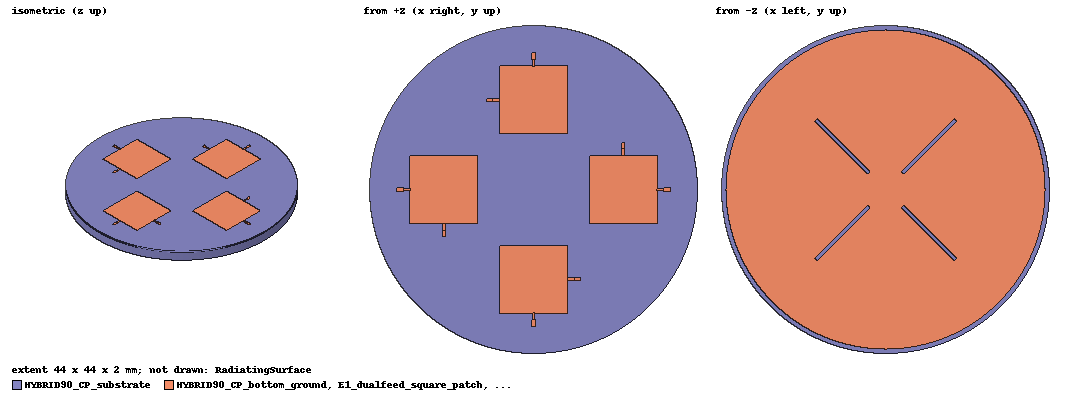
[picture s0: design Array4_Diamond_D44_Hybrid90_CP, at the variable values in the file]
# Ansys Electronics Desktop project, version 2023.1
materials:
  vacuum: permittivity=1
  RO4350B_custom_D44_Topology: permittivity=3.48 permeability=1 dielectric_loss_tangent=0.0037
  copper: permeability=0.999991 conductivity=58000000
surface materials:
  Steel-oxidised-surface

design Array4_Diamond_D44_Hybrid90_CP (HFSS, HFSS Modal Network, model units mm)
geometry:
  HYBRID90_CP_substrate [RO4350B_custom_D44_Topology] = cylinder(axis=Z, base_centre=(0mm, 0mm, 0mm), radius=22mm, height=2mm, segments=128)
  HYBRID90_CP_bottom_ground [copper] = circle(normal=Z, centre=(0mm, 0mm, 0mm), radius=21.4mm, segments=128)
  ground_isolation_slot_1 = polyline(z=0mm, xy in mm: (2.4112341, 2.1142493) (9.4823019, 9.1853171) (9.1853171, 9.4823019) (2.1142493, 2.4112341) (2.4112341, 2.1142493), closed, covered)
  ground_isolation_slot_2 = polyline(z=0mm, xy in mm: (-2.1142493, 2.4112341) (-9.1853171, 9.4823019) (-9.4823019, 9.1853171) (-2.4112341, 2.1142493) (-2.1142493, 2.4112341), closed, covered)
  ground_isolation_slot_3 = polyline(z=0mm, xy in mm: (-2.4112341, -2.1142493) (-9.4823019, -9.1853171) (-9.1853171, -9.4823019) (-2.1142493, -2.4112341) (-2.4112341, -2.1142493), closed, covered)
  ground_isolation_slot_4 = polyline(z=0mm, xy in mm: (2.1142493, -2.4112341) (9.1853171, -9.4823019) (9.4823019, -9.1853171) (2.4112341, -2.1142493) (2.1142493, -2.4112341), closed, covered)
  E1_dualfeed_square_patch [copper] = polyline(z=2mm, xy in mm: (7.4458153, -4.575) (16.595815, -4.575) (16.595815, 4.575) (7.4458153, 4.575) (7.4458153, -4.575), closed, covered)
  P1A_edge_match_section [copper] = polyline(z=2mm, xy in mm: (16.515815, -0.15) (17.495815, -0.15) (17.495815, 0.15) (16.515815, 0.15) (16.515815, -0.15), closed, covered)
  P1A_edge_feedline [copper] = polyline(z=2mm, xy in mm: (17.415815, -0.25) (18.345815, -0.25) (18.345815, 0.25) (17.415815, 0.25) (17.415815, -0.25), closed, covered)
  P1A_lumped_port_sheet = polyline(x=18.345815mm, yz in mm: (-0.25, 0) (0.25, 0) (0.25, 2) (-0.25, 2) (-0.25, 0), closed, covered)
  P1B_edge_match_section [copper] = polyline(z=2mm, xy in mm: (11.870815, 4.495) (12.170815, 4.495) (12.170815, 5.475) (11.870815, 5.475) (11.870815, 4.495), closed, covered)
  P1B_edge_feedline [copper] = polyline(z=2mm, xy in mm: (11.770815, 5.395) (12.270815, 5.395) (12.270815, 6.325) (11.770815, 6.325) (11.770815, 5.395), closed, covered)
  P1B_lumped_port_sheet = polyline(x=12.020815mm, yz in mm: (6.075, 0) (6.575, 0) (6.575, 2) (6.075, 2) (6.075, 0), closed, covered)
  E2_dualfeed_square_patch [copper] = polyline(z=2mm, xy in mm: (4.575, 7.4458153) (4.575, 16.595815) (-4.575, 16.595815) (-4.575, 7.4458153) (4.575, 7.4458153), closed, covered)
  P2A_edge_match_section [copper] = polyline(z=2mm, xy in mm: (0.15, 16.515815) (0.15, 17.495815) (-0.15, 17.495815) (-0.15, 16.515815) (0.15, 16.515815), closed, covered)
  P2A_edge_feedline [copper] = polyline(z=2mm, xy in mm: (0.25, 17.415815) (0.25, 18.345815) (-0.25, 18.345815) (-0.25, 17.415815) (0.25, 17.415815), closed, covered)
  P2A_lumped_port_sheet = polyline(y=18.345815mm, xz in mm: (0.25, 0) (-0.25, 0) (-0.25, 2) (0.25, 2) (0.25, 0), closed, covered)
  P2B_edge_match_section [copper] = polyline(z=2mm, xy in mm: (-4.495, 11.870815) (-4.495, 12.170815) (-5.475, 12.170815) (-5.475, 11.870815) (-4.495, 11.870815), closed, covered)
  P2B_edge_feedline [copper] = polyline(z=2mm, xy in mm: (-5.395, 11.770815) (-5.395, 12.270815) (-6.325, 12.270815) (-6.325, 11.770815) (-5.395, 11.770815), closed, covered)
  P2B_lumped_port_sheet = polyline(y=12.020815mm, xz in mm: (-6.075, 0) (-6.575, 0) (-6.575, 2) (-6.075, 2) (-6.075, 0), closed, covered)
  E3_dualfeed_square_patch [copper] = polyline(z=2mm, xy in mm: (-7.4458153, 4.575) (-16.595815, 4.575) (-16.595815, -4.575) (-7.4458153, -4.575) (-7.4458153, 4.575), closed, covered)
  P3A_edge_match_section [copper] = polyline(z=2mm, xy in mm: (-16.515815, 0.15) (-17.495815, 0.15) (-17.495815, -0.15) (-16.515815, -0.15) (-16.515815, 0.15), closed, covered)
  P3A_edge_feedline [copper] = polyline(z=2mm, xy in mm: (-17.415815, 0.25) (-18.345815, 0.25) (-18.345815, -0.25) (-17.415815, -0.25) (-17.415815, 0.25), closed, covered)
  P3A_lumped_port_sheet = polyline(x=-18.345815mm, yz in mm: (0.25, 0) (-0.25, 0) (-0.25, 2) (0.25, 2) (0.25, 0), closed, covered)
  P3B_edge_match_section [copper] = polyline(z=2mm, xy in mm: (-11.870815, -4.495) (-12.170815, -4.495) (-12.170815, -5.475) (-11.870815, -5.475) (-11.870815, -4.495), closed, covered)
  P3B_edge_feedline [copper] = polyline(z=2mm, xy in mm: (-11.770815, -5.395) (-12.270815, -5.395) (-12.270815, -6.325) (-11.770815, -6.325) (-11.770815, -5.395), closed, covered)
  P3B_lumped_port_sheet = polyline(x=-12.020815mm, yz in mm: (-6.075, 0) (-6.575, 0) (-6.575, 2) (-6.075, 2) (-6.075, 0), closed, covered)
  E4_dualfeed_square_patch [copper] = polyline(z=2mm, xy in mm: (-4.575, -7.4458153) (-4.575, -16.595815) (4.575, -16.595815) (4.575, -7.4458153) (-4.575, -7.4458153), closed, covered)
  P4A_edge_match_section [copper] = polyline(z=2mm, xy in mm: (-0.15, -16.515815) (-0.15, -17.495815) (0.15, -17.495815) (0.15, -16.515815) (-0.15, -16.515815), closed, covered)
  P4A_edge_feedline [copper] = polyline(z=2mm, xy in mm: (-0.25, -17.415815) (-0.25, -18.345815) (0.25, -18.345815) (0.25, -17.415815) (-0.25, -17.415815), closed, covered)
  P4A_lumped_port_sheet = polyline(y=-18.345815mm, xz in mm: (-0.25, 0) (0.25, 0) (0.25, 2) (-0.25, 2) (-0.25, 0), closed, covered)
  P4B_edge_match_section [copper] = polyline(z=2mm, xy in mm: (4.495, -11.870815) (4.495, -12.170815) (5.475, -12.170815) (5.475, -11.870815) (4.495, -11.870815), closed, covered)
  P4B_edge_feedline [copper] = polyline(z=2mm, xy in mm: (5.395, -11.770815) (5.395, -12.270815) (6.325, -12.270815) (6.325, -11.770815) (5.395, -11.770815), closed, covered)
  P4B_lumped_port_sheet = polyline(y=-12.020815mm, xz in mm: (6.075, 0) (6.575, 0) (6.575, 2) (6.075, 2) (6.075, 0), closed, covered)
  HYBRID90_CP_bottom_ground.subtract(ground_isolation_slot_1..ground_isolation_slot_4)
  RadiatingSurface [vacuum] = region(absolute_offset=14.285714mm on all sides)
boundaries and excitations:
  HYBRID90_CP_PEC_metallization: Perfect E Objects=[HYBRID90_CP_bottom_ground, E1_dualfeed_square_patch, P1A_edge_match_section, P1A_edge_feedline, P1B_edge_match_section, P1B_edge_feedline, E2_dualfeed_square_patch, P2A_edge_match_section, P2A_edge_feedline, P2B_edge_match_section, P2B_edge_feedline, E3_dualfeed_square_patch, P3A_edge_match_section, P3A_edge_feedline, P3B_edge_match_section, P3B_edge_feedline, E4_dualfeed_square_patch, P4A_edge_match_section, P4A_edge_feedline, P4B_edge_match_section, P4B_edge_feedline]
  Open1: Radiation Objects=RadiatingSurface
  P1A: Lumped Port Objects=P1A_lumped_port_sheet LumpedPortType=Modal Modes{Mode1{IntLine{(18.345815, 0, 2) -> (18.345815, 0, 0)} CharImp=Zpi RenormImp=50ohm}} Impedance=50ohm
  P1B: Lumped Port Objects=P1B_lumped_port_sheet LumpedPortType=Modal Modes{Mode1{IntLine{(12.020815, 6.325, 2) -> (12.020815, 6.325, 0)} CharImp=Zpi RenormImp=50ohm}} Impedance=50ohm
  P2A: Lumped Port Objects=P2A_lumped_port_sheet LumpedPortType=Modal Modes{Mode1{IntLine{(0, 18.345815, 2) -> (0, 18.345815, 0)} CharImp=Zpi RenormImp=50ohm}} Impedance=50ohm
  P2B: Lumped Port Objects=P2B_lumped_port_sheet LumpedPortType=Modal Modes{Mode1{IntLine{(-6.325, 12.020815, 2) -> (-6.325, 12.020815, 0)} CharImp=Zpi RenormImp=50ohm}} Impedance=50ohm
  P3A: Lumped Port Objects=P3A_lumped_port_sheet LumpedPortType=Modal Modes{Mode1{IntLine{(-18.345815, 0, 2) -> (-18.345815, 0, 0)} CharImp=Zpi RenormImp=50ohm}} Impedance=50ohm
  P3B: Lumped Port Objects=P3B_lumped_port_sheet LumpedPortType=Modal Modes{Mode1{IntLine{(-12.020815, -6.325, 2) -> (-12.020815, -6.325, 0)} CharImp=Zpi RenormImp=50ohm}} Impedance=50ohm
  P4A: Lumped Port Objects=P4A_lumped_port_sheet LumpedPortType=Modal Modes{Mode1{IntLine{(0, -18.345815, 2) -> (0, -18.345815, 0)} CharImp=Zpi RenormImp=50ohm}} Impedance=50ohm
  P4B: Lumped Port Objects=P4B_lumped_port_sheet LumpedPortType=Modal Modes{Mode1{IntLine{(6.325, -12.020815, 2) -> (6.325, -12.020815, 0)} CharImp=Zpi RenormImp=50ohm}} Impedance=50ohm
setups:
  Setup_CH9: HfssDriven Frequency=8GHz MaxDeltaS=0.05 MaximumPasses=4 MinimumPasses=1 MinimumConvergedPasses=1 PercentRefinement=30 BasisOrder=1 PortAccuracy=2 DrivenSolverType="Direct Solver"
    sweep Sweep_CH9: 7.738GHz to 8.233GHz, 3 points; Type=Discrete SaveFields SaveRadFields
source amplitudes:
  P1A:1: 1W 0deg
  P1B:1, P2A:1, P2B:1, P3A:1, P3B:1, P4A:1, P4B:1: 0W 0deg
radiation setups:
  3D: Infinite Sphere Theta=0deg..180deg step 2deg Phi=-180deg..180deg step 2deg
  Elevation: Infinite Sphere Theta=-180deg..180deg step 1deg Phi=0deg..90deg step 90deg
  Azimuth: Infinite Sphere Theta=90deg..90deg step 0deg Phi=-180deg..180deg step 1deg
  Upper_Hemisphere_5deg: Infinite Sphere Theta=0deg..360deg step 5deg Phi=0deg..90deg step 5deg
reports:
  HYBRID90_CP_S_Parameters: dB(S(P1B:1,P1B:1)), dB(S(P4A:1,P4A:1)), dB(S(P2B:1,P2B:1)), dB(S(P4B:1,P4B:1)), dB(S(P3B:1,P3B:1)), dB(S(P1A:1,P1A:1)), dB(S(P3A:1,P3A:1)), dB(S(P2A:1,P2A:1)), dB(S(P1B:1,P4A:1)), dB(S(P1B:1,P2B:1)), dB(S(P1B:1,P4B:1)), dB(S(P1B:1,P3B:1)), dB(S(P1B:1,P1A:1)), dB(S(P1B:1,P3A:1)), dB(S(P1B:1,P2A:1)), dB(S(P4A:1,P1B:1)), dB(S(P4A:1,P2B:1)), dB(S(P4A:1,P4B:1)), dB(S(P4A:1,P3B:1)), dB(S(P4A:1,P1A:1)), dB(S(P4A:1,P3A:1)), dB(S(P4A:1,P2A:1)), dB(S(P2B:1,P1B:1)), dB(S(P2B:1,P4A:1)), dB(S(P2B:1,P4B:1)), dB(S(P2B:1,P3B:1)), dB(S(P2B:1,P1A:1)), dB(S(P2B:1,P3A:1)), dB(S(P2B:1,P2A:1)), dB(S(P4B:1,P1B:1)), dB(S(P4B:1,P4A:1)), dB(S(P4B:1,P2B:1)), dB(S(P4B:1,P3B:1)), dB(S(P4B:1,P1A:1)), dB(S(P4B:1,P3A:1)), dB(S(P4B:1,P2A:1)), dB(S(P3B:1,P1B:1)), dB(S(P3B:1,P4A:1)), dB(S(P3B:1,P2B:1)), dB(S(P3B:1,P4B:1))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 vs Freq on Setup_CH9 : Sweep_CH9
  HYBRID90_CP_GainTotal_8GHz: dB(GainTotal) vs Phi, Theta on Setup_CH9 : Sweep_CH9, Upper_Hemisphere_5deg [Freq=8GHz]
  HYBRID90_CP_AxialRatio_8GHz: AxialRatioValue vs Phi, Theta on Setup_CH9 : Sweep_CH9, Upper_Hemisphere_5deg [Freq=8GHz]
